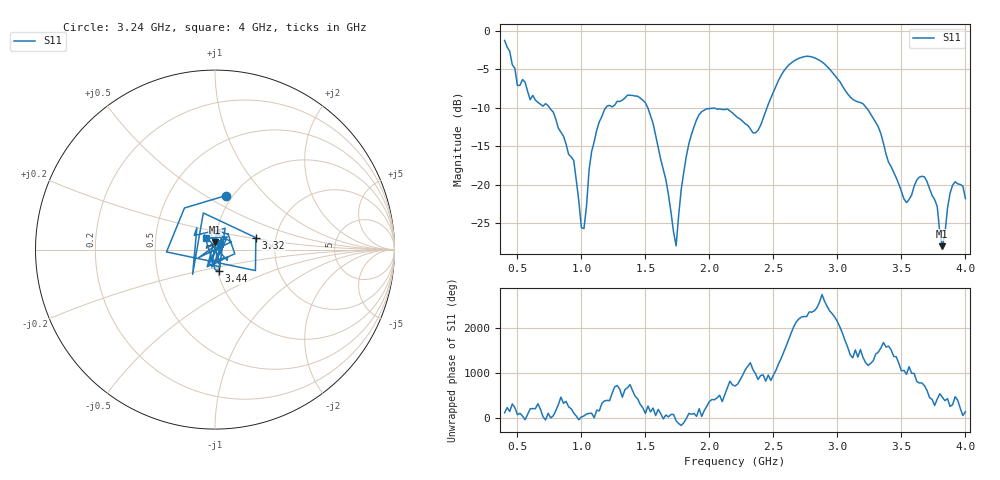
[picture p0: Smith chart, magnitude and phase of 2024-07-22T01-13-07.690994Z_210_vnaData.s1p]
!Created with skrf (http://scikit-rf.org).
# Hz S RI R 50.0
!freq ReS11 ImS11
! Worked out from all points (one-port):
!   181 points, 400 MHz to 4 GHz, reference 50 ohm
!   lowest |S11| = -27.9 dB at 3.82 GHz (marker M1), VSWR 1.08, Z = 49.8 + j3.99 ohm
!   |S11| at or under -10 dB: 751.2 MHz to 1.191 GHz (439.6 MHz wide, 45.3 % of centre); 1.519 GHz to 2.45 GHz (931.1 MHz wide, 46.9 % of centre); 3.226 GHz to end of sweep
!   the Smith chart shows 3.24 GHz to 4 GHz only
!   S11 on the Smith chart (normalised r, x): 3.24 GHz: 0.93, +0.62; 3.32 GHz: 1.57, +0.22; 3.44 GHz: 1.01, -0.25; 4 GHz: 0.89, +0.11
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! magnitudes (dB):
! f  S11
! 400 MHz  -1.3
! 500 MHz  -7.1
! 860 MHz  -13.7
! 940 MHz  -16.8
! 1.02 GHz  -25.7
! 1.06 GHz  -18.0
! 1.12 GHz  -12.9
! 1.3 GHz  -9.2
! 1.5 GHz  -9.3
! 1.66 GHz  -19.3
! 1.74 GHz  -27.9
! 1.76 GHz  -23.9
! 1.82 GHz  -16.3
! 1.92 GHz  -10.9
! 2.2 GHz  -11.0
! 2.36 GHz  -13.3
! 2.66 GHz  -3.9
! 2.86 GHz  -3.8
! 3.1 GHz  -8.6
! 3.24 GHz  -10.3
! 3.32 GHz  -12.5
! 3.44 GHz  -18.3
! 3.56 GHz  -21.9
! 3.68 GHz  -19.0
! 3.78 GHz  -22.8
! 3.82 GHz  -27.9
! 3.9 GHz  -20.0
! 4 GHz  -21.8
